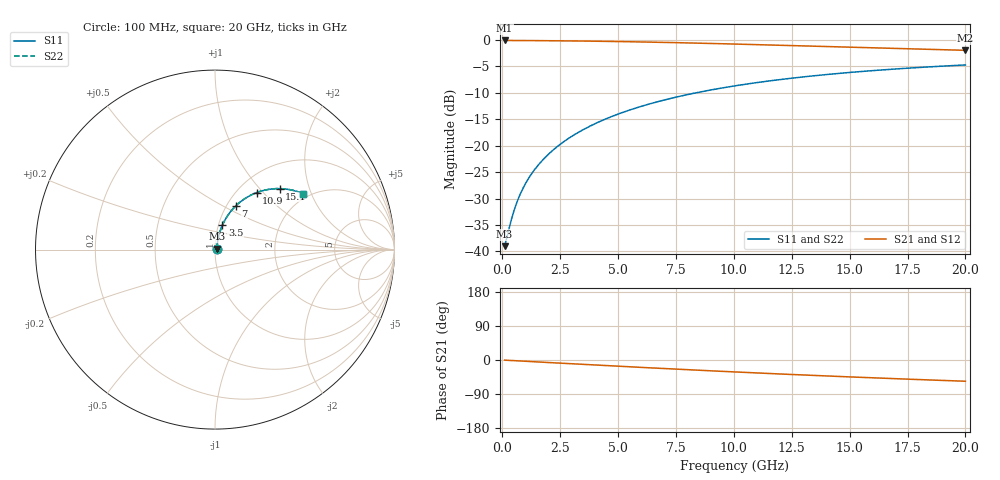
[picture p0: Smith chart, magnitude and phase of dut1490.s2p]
! Touchstone file exported from HFSS 2026.1.0
!  File:  C:/ffzhzh/LocalFiles/Ansys_Project_Files/temp_train_BSMRDL_1490_1783181488_51560.aedt
!  Generated:  12:12:38 AM Jul  5, 2026
!  Design:  BSMRDL
!  Project:  temp_train_BSMRDL_1490_1783181488_51560
! Variables:
!  h_bsmrdl = 2.08um
!  h_ox = 20um
!  h_rdl = 5um
!  h_sub = 80um
!  h_tmrdl = 5um
!  h_tsv = 80um
!  h_via = 3um
!  l_bsmrdl = 795.38um
!  l_sub = 1195.38um
!  l_tmrdl = 200um
!  m_sub = 200um
!  pitch = 44.93um
!  r_tsv = 6um
!  s_tmrdl = 10um
!  w_bsmrdl = 13.06um
!  w_sub = 500um
!  w_tmrdl = 12um
!  x_tsv_center1 = 206um
!  x_tsv_center2 = 1014.44um
!  x_tsv_center3 = 1226.44um
!  x_tsv_center4 = 2034.88um
!  x_tsv_center5 = 2246.88um
!  x_tsv_center6 = 3055.32um
# GHz S MA R 50.000000
! Terminal data exported
! Port[1] = BSM_RDL1_1_T1
! Port[2] = BSM_RDL1_1_T2
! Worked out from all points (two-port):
!   200 points, 100 MHz to 20 GHz, reference 50 ohm
!   highest |S21| = -0.09 dB at 100 MHz (marker M1); lowest = -2.0 dB at 20 GHz (marker M2)
!   |S21| within 3 dB of the highest: start of sweep to end of sweep
!   lowest |S11| = -39.0 dB at 100 MHz (marker M3), VSWR 1.02, Z = 51 + j0.437 ohm
!   |S11| at or under -10 dB: start of sweep to 8.363 GHz
!   |S22| runs from -39.0 to -4.7 dB; largest |S21 - S12| = 2.4e-15
!   S11 on the Smith chart (normalised r, x): 100 MHz: 1.02, +0.01; 3.5 GHz: 1.04, +0.29; 7 GHz: 1.10, +0.58; 10.9 GHz: 1.22, +0.92; 15.1 GHz: 1.44, +1.29; 20 GHz: 1.86, +1.74
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0.1  0.0112 22.5  0.9897 -0.3  0.9897 -0.3  0.0112 22.5
! Gamma 0 0 0 0
! Port Impedance 50 0 50 0
0.4  0.02028 56.9  0.9892 -1.4  0.9892 -1.4  0.02028 56.9
0.6  0.02793 64.8  0.9887 -2.1  0.9887 -2.1  0.02793 64.8
0.7  0.03186 67.1  0.9884 -2.4  0.9884 -2.4  0.03186 67.1
0.9  0.03976 70.2  0.9878 -3.1  0.9878 -3.1  0.03976 70.2
1.2  0.05164 72.7  0.9869 -4.1  0.9869 -4.1  0.05164 72.7
1.4  0.05956 73.6  0.9862 -4.7  0.9862 -4.7  0.05956 73.6
1.7  0.07143 74.4  0.9852 -5.7  0.9852 -5.7  0.07143 74.4
2.2  0.09118 74.7  0.9833 -7.3  0.9833 -7.3  0.09118 74.7
2.8  0.1148 74.3  0.9806 -9.3  0.9806 -9.3  0.1148 74.3
3.5  0.1421 73.2  0.9769 -11.6  0.9769 -11.6  0.1421 73.2
4.2  0.1689 71.7  0.9725 -13.8  0.9725 -13.8  0.1689 71.7
5  0.1991 69.8  0.9666 -16.4  0.9666 -16.4  0.1991 69.8
6.8  0.2639 65.0  0.9508 -22.0  0.9508 -22.0  0.2639 65.0
7  0.2708 64.5  0.9488 -22.6  0.9488 -22.6  0.2708 64.5
8.5  0.3206 60.4  0.933 -27.1  0.933 -27.1  0.3206 60.4
10.1  0.3697 56.0  0.9145 -31.7  0.9145 -31.7  0.3697 56.1
10.9  0.3926 53.9  0.9049 -33.9  0.9049 -33.9  0.3926 53.9
13.4  0.4571 47.5  0.8741 -40.6  0.8741 -40.6  0.457 47.5
15.1  0.495 43.3  0.8533 -44.9  0.8533 -44.9  0.495 43.4
16.7  0.5266 39.6  0.8343 -48.7  0.8343 -48.7  0.5266 39.6
20  0.5805 32.4  0.7983 -56.1  0.7983 -56.1  0.5805 32.4
